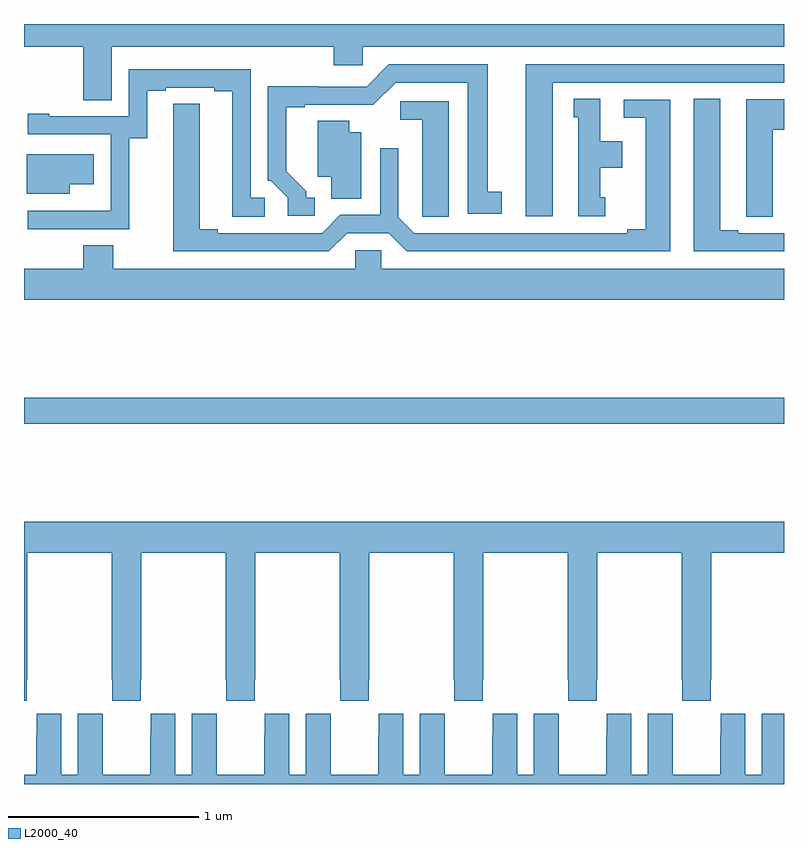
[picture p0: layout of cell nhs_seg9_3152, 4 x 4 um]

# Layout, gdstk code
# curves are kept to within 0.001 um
import gdstk
lib = gdstk.Library(unit=1e-6, precision=1e-09)
def R(c, l, rs):  # rectangles x0, y0, x1, y1
    for r in rs: c.add(gdstk.rectangle(r[:2], r[2:], *l))
def P(c, l, *ps):  # polygons
    for p in ps: c.add(gdstk.Polygon(p, *l))
L2000_40 = (2000, 40)

nhs_seg9_3152 = lib.new_cell('nhs_seg9_3152')
R(nhs_seg9_3152, L2000_40, [(291,1234.396,295,1234.532)])
P(nhs_seg9_3152, L2000_40, [(291.463,1236.38),(292.631,1236.38),(292.631,1236.282),(292.782,1236.282),(292.782,1236.38),(295,1236.38),(295,1236.5),(291,1236.5),(291,1236.38),(291.311,1236.38),(291.311,1236.1),(291.463,1236.1)],
  [(293.782,1236.192),(295,1236.192),(295,1236.288),(293.642,1236.288),(293.642,1235.487),(293.782,1235.487)],
  [(292.531,1235.586),(292.486,1235.586),(292.486,1235.621),(292.381,1235.726),(292.381,1236.063),(292.477,1236.063),(292.477,1236.075),(292.838,1236.074),(292.956,1236.192),(293.336,1236.192),(293.336,1235.502),(293.515,1235.502),(293.515,1235.618),(293.44,1235.618),(293.44,1236.288),(292.92,1236.288),(292.803,1236.171),(292.547,1236.171),(292.547,1236.173),(292.284,1236.173),(292.284,1235.676),(292.299,1235.676),(292.389,1235.586),(292.389,1235.49),(292.531,1235.49)],
  [(291.555,1235.899),(291.649,1235.899),(291.649,1236.15),(291.745,1236.15),(291.745,1236.165),(292.001,1236.165),(292.001,1236.145),(292.097,1236.145),(292.097,1235.485),(292.267,1235.485),(292.267,1235.586),(292.194,1235.586),(292.194,1236.261),(291.552,1236.261),(291.552,1236.015),(291.133,1236.015),(291.133,1236.028),(291.021,1236.028),(291.021,1235.919),(291.456,1235.919),(291.456,1235.518),(291.455,1235.518),(291.455,1235.517),(291.021,1235.517),(291.021,1235.421),(291.555,1235.421)],
  [(294.058,1235.589),(294.034,1235.589),(294.034,1235.744),(294.148,1235.744),(294.148,1235.884),(294.034,1235.884),(294.034,1236.107),(293.894,1236.107),(293.894,1236.009),(293.918,1236.009),(293.918,1235.487),(294.058,1235.487)],
  [(295,1235.4),(294.76,1235.4),(294.76,1235.415),(294.664,1235.415),(294.664,1236.107),(294.524,1236.107),(294.524,1235.304),(295,1235.304)],
  [(294.94,1235.944),(295,1235.944),(295,1236.103),(294.8,1236.103),(294.8,1235.593),(294.801,1235.593),(294.801,1235.485),(294.94,1235.485)],
  [(292.701,1235.4),(292.919,1235.4),(293.015,1235.304),(294.4,1235.304),(294.4,1236.102),(294.156,1236.102),(294.156,1236.006),(294.272,1236.006),(294.272,1235.42),(294.176,1235.42),(294.176,1235.4),(293.055,1235.4),(292.971,1235.484),(292.971,1235.845),(292.875,1235.845),(292.875,1235.496),(292.665,1235.496),(292.569,1235.4),(292.021,1235.4),(292.021,1235.42),(291.925,1235.42),(291.925,1236.08),(291.786,1236.08),(291.785,1235.304),(292.605,1235.304)],
  [(293.236,1236.093),(292.98,1236.093),(292.98,1235.996),(293.096,1235.996),(293.096,1235.593),(293.097,1235.593),(293.097,1235.485),(293.236,1235.485)],
  [(292.774,1235.929),(292.711,1235.929),(292.711,1235.99),(292.547,1235.99),(292.547,1235.696),(292.616,1235.696),(292.616,1235.581),(292.774,1235.581)],
  [(291.241,1235.657),(291.367,1235.657),(291.367,1235.815),(291.014,1235.815),(291.014,1235.606),(291.241,1235.606)],
  [(295,1235.212),(292.881,1235.212),(292.881,1235.31),(292.743,1235.31),(292.743,1235.212),(291.471,1235.212),(291.471,1235.336),(291.311,1235.336),(291.311,1235.212),(291,1235.212),(291,1235.048),(295,1235.048)],
  [(291.015,1233.049),(291.018,1233.049),(291.018,1233.716),(291.463,1233.716),(291.463,1233.049),(291.465,1233.049),(291.465,1232.937),(291.615,1232.937),(291.615,1233.049),(291.618,1233.049),(291.618,1233.716),(292.063,1233.716),(292.063,1233.049),(292.065,1233.049),(292.065,1232.937),(292.215,1232.937),(292.215,1233.049),(292.218,1233.049),(292.218,1233.716),(292.663,1233.716),(292.663,1233.049),(292.665,1233.049),(292.665,1232.937),(292.815,1232.937),(292.815,1233.049),(292.818,1233.049),(292.818,1233.716),(293.263,1233.716),(293.263,1233.049),(293.265,1233.049),(293.265,1232.937),(293.415,1232.937),(293.415,1233.049),(293.418,1233.049),(293.418,1233.716),(293.863,1233.716),(293.863,1233.049),(293.865,1233.049),(293.865,1232.937),(294.015,1232.937),(294.015,1233.049),(294.018,1233.049),(294.018,1233.716),(294.463,1233.716),(294.463,1233.049),(294.465,1233.049),(294.465,1232.937),(294.615,1232.937),(294.615,1233.049),(294.618,1233.049),(294.618,1233.716),(295,1233.716),(295,1233.88),(291,1233.88),(291,1232.937),(291.015,1232.937)],
  [(295,1232.869),(294.884,1232.869),(294.884,1232.548),(294.796,1232.548),(294.796,1232.869),(294.666,1232.869),(294.666,1232.756),(294.665,1232.756),(294.665,1232.548),(294.415,1232.548),(294.415,1232.756),(294.414,1232.756),(294.414,1232.869),(294.284,1232.869),(294.284,1232.548),(294.196,1232.548),(294.196,1232.869),(294.066,1232.869),(294.066,1232.756),(294.065,1232.756),(294.065,1232.548),(293.815,1232.548),(293.815,1232.756),(293.814,1232.756),(293.814,1232.869),(293.684,1232.869),(293.684,1232.548),(293.596,1232.548),(293.596,1232.869),(293.466,1232.869),(293.466,1232.756),(293.465,1232.756),(293.465,1232.548),(293.215,1232.548),(293.215,1232.756),(293.214,1232.756),(293.214,1232.869),(293.084,1232.869),(293.084,1232.548),(292.996,1232.548),(292.996,1232.869),(292.866,1232.869),(292.866,1232.756),(292.865,1232.756),(292.865,1232.548),(292.615,1232.548),(292.615,1232.756),(292.614,1232.756),(292.614,1232.869),(292.484,1232.869),(292.484,1232.548),(292.396,1232.548),(292.396,1232.869),(292.266,1232.869),(292.266,1232.756),(292.265,1232.756),(292.265,1232.548),(292.015,1232.548),(292.015,1232.756),(292.014,1232.756),(292.014,1232.869),(291.884,1232.869),(291.884,1232.548),(291.796,1232.548),(291.796,1232.869),(291.666,1232.869),(291.666,1232.756),(291.665,1232.756),(291.665,1232.548),(291.415,1232.548),(291.415,1232.756),(291.414,1232.756),(291.414,1232.869),(291.284,1232.869),(291.284,1232.548),(291.196,1232.548),(291.196,1232.869),(291.066,1232.869),(291.066,1232.756),(291.065,1232.756),(291.065,1232.548),(291,1232.548),(291,1232.5),(295,1232.5)])

lib.write_gds('nhs_seg9_3152.gds')
